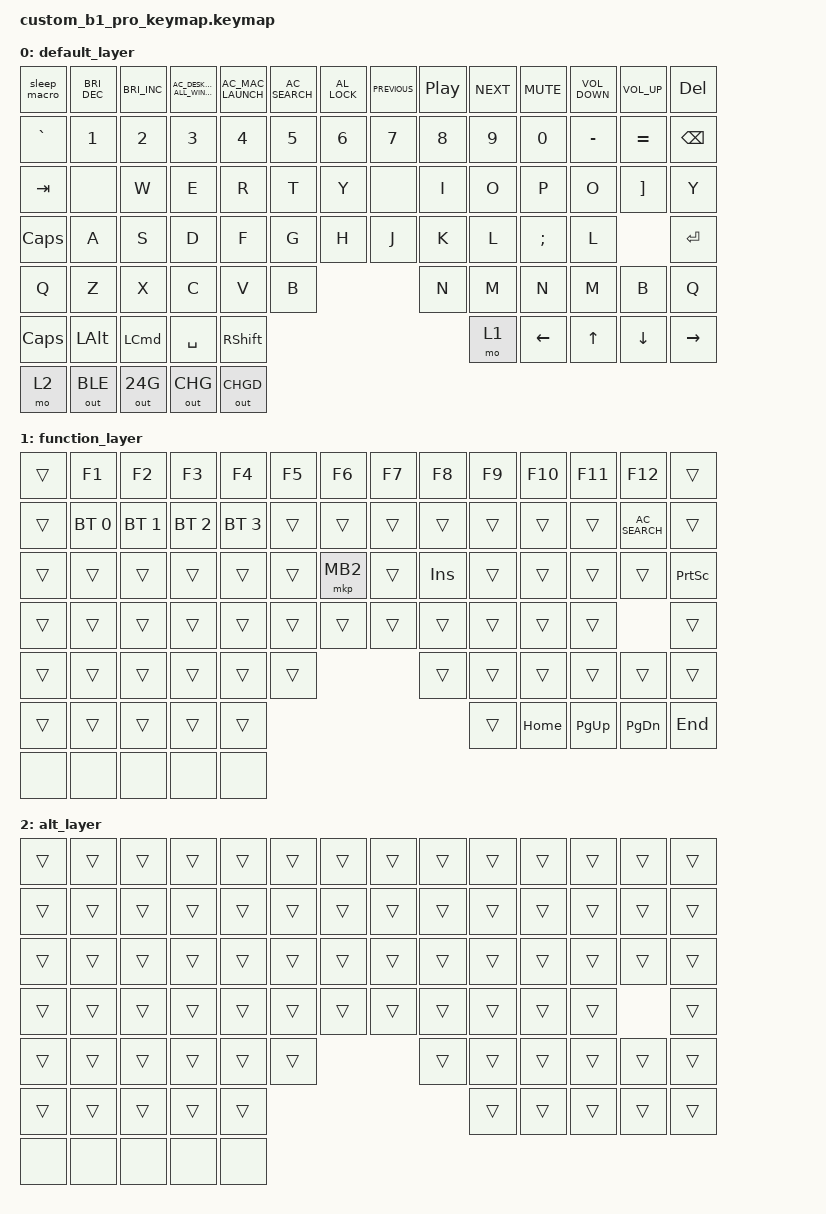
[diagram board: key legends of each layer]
/*
 * Copyright (c) 2023 The ZMK Contributors
 *
 * SPDX-License-Identifier: MIT
 */

#include <behaviors.dtsi>
#include <dt-bindings/zmk/keys.h>
#include <dt-bindings/zmk/rgb.h>
#include <dt-bindings/zmk/bt.h>
#include <dt-bindings/zmk/outputs.h>
#include <dt-bindings/zmk/mouse.h>

/ {
    behaviors {
        sleep_macro: sleep_macro {
            compatible = "zmk,behavior-macro";
            #binding-cells = <0>;
            bindings = <&macro_press &kp C_SYSTEM_SLEEP>;
        };
    };

    keymap {
        compatible = "zmk,keymap";
        default_layer {
            bindings = <
                // Row 1 - Function row
                &sleep_macro      &kp C_BRIGHTNESS_DEC    &kp C_BRIGHTNESS_INC    &kp C_AC_DESKTOP_SHOW_ALL_WINDOWS   &kp C_AC_MAC_LAUNCH    &kp C_AC_SEARCH    &kp C_AL_LOCK   &kp C_PREVIOUS   &kp C_PLAY_PAUSE    &kp C_NEXT   &kp C_MUTE   &kp C_VOLUME_DOWN   &kp C_VOLUME_UP   &kp DEL  
                // Row 2 - Number row
                &kp GRAVE   &kp N1   &kp N2   &kp N3   &kp N4   &kp N5   &kp N6   &kp N7   &kp N8   &kp N9   &kp N0   &kp MINUS   &kp EQUAL   &kp BSPC 
                // Row 3 - QWERTY row 1
                &kp TAB     &none    &kp W    &kp E    &kp R    &kp T    &kp Y    &none    &kp I    &kp O    &kp P    &kp O      &kp RBKT    &kp Y      
                // Row 4 - QWERTY row 2
                &kp CAPS    &kp A    &kp S    &kp D    &kp F    &kp G    &kp H    &kp J    &kp K    &kp L    &kp SEMI &kp L               &kp RET                                         
                // Row 5 - QWERTY row 3
                &kp Q       &kp Z    &kp X    &kp C    &kp V    &kp B    &kp N    &kp M    &kp N    &kp M    &kp B                       &kp Q 
                // Row 6 - Bottom row
                &kp CAPS    &kp LALT &kp LCMD       &kp SPACE                                        &kp RSHFT &mo 1    &kp LEFT  &kp UP    &kp DOWN   &kp RIGHT   
                &mo 2       &out OUT_BLE            &out OUT_24G            &out OUT_CHG             &out OUT_CHGD 
            >;
        };

        function_layer {
            bindings = < 
                &trans      &kp F1    &kp F2    &kp F3    &kp F4    &kp F5    &kp F6    &kp F7    &kp F8    &kp F9    &kp F10   &kp F11   &kp F12   &trans    
                &trans      &bt BT_SEL 0 &bt BT_SEL 1 &bt BT_SEL 2 &bt BT_SEL 3 &trans  &trans    &trans    &trans    &trans    &trans    &trans    &kp C_AC_SEARCH &trans      
                &trans      &trans    &trans    &trans    &trans    &trans    &mkp MB2  &trans    &kp INS   &trans    &trans    &trans    &trans    &kp PRINTSCREEN
                &trans      &trans    &trans    &trans    &trans    &trans    &trans    &trans    &trans    &trans    &trans    &trans            &trans                  
                &trans      &trans    &trans    &trans    &trans    &trans    &trans    &trans    &trans    &trans    &trans                      &trans
                &trans      &trans    &trans           &trans                                      &trans    &trans    &kp HOME  &kp PG_UP &kp PG_DN &kp END  
                &none       &none     &none     &none     &none
            >;
        };

        alt_layer {
            bindings = <
                &trans      &trans    &trans    &trans    &trans    &trans    &trans    &trans    &trans    &trans    &trans    &trans    &trans    &trans     
                &trans      &trans    &trans    &trans    &trans    &trans    &trans    &trans    &trans    &trans    &trans    &trans    &trans    &trans
                &trans      &trans    &trans    &trans    &trans    &trans    &trans    &trans    &trans    &trans    &trans    &trans    &trans    &trans     
                &trans      &trans    &trans    &trans    &trans    &trans    &trans    &trans    &trans    &trans    &trans    &trans            &trans
                &trans      &trans    &trans    &trans    &trans    &trans    &trans    &trans    &trans    &trans    &trans                      &trans                
                &trans      &trans    &trans           &trans                                      &trans    &trans    &trans    &trans    &trans    &trans     
                &none       &none     &none     &none     &none
            >;
        };
    };
}; 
